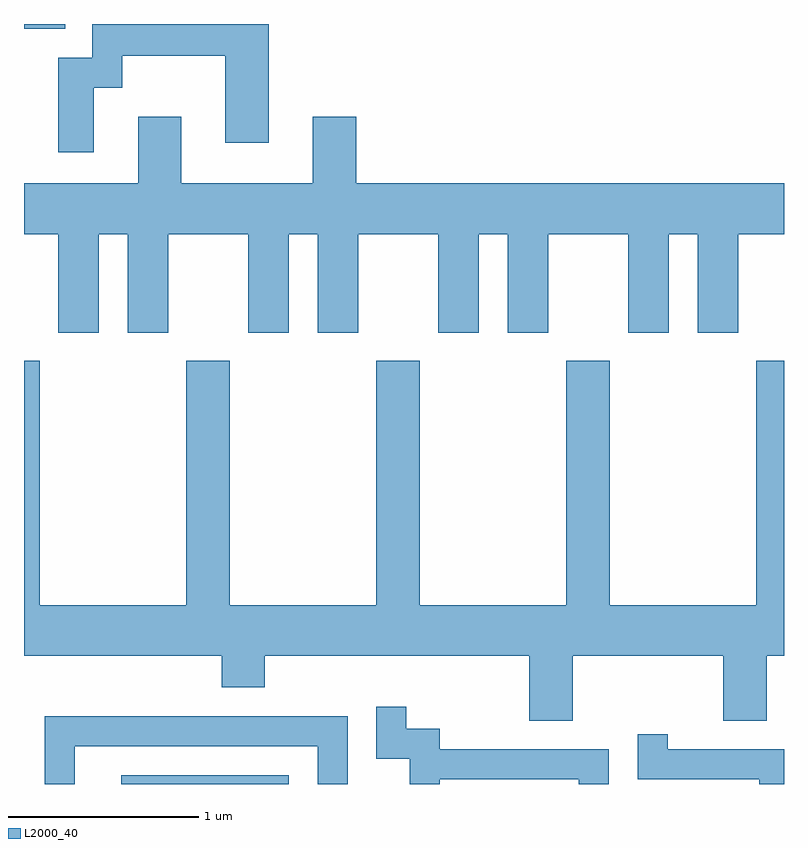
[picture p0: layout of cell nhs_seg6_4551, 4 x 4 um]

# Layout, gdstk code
import gdstk
lib = gdstk.Library(unit=1e-6, precision=1e-09)
def R(c, l, rs):  # rectangles x0, y0, x1, y1
    for r in rs: c.add(gdstk.rectangle(r[:2], r[2:], *l))
def P(c, l, *ps):  # polygons
    for p in ps: c.add(gdstk.Polygon(p, *l))
L2000_40 = (2000, 40)

nhs_seg6_4551 = lib.new_cell('nhs_seg6_4551')
R(nhs_seg6_4551, L2000_40, [(324.123,1638.162,325.004,1638.209), (323.611,1642.136,323.828,1642.162)])
P(nhs_seg6_4551, L2000_40, [(323.979,1641.826),(324.129,1641.826),(324.129,1641.996),(324.671,1641.996),(324.671,1641.536),(324.899,1641.536),(324.899,1642.162),(323.971,1642.162),(323.971,1641.984),(323.791,1641.984),(323.791,1641.486),(323.979,1641.486)],
  [(325.359,1641.674),(325.131,1641.674),(325.131,1641.324),(324.439,1641.324),(324.439,1641.674),(324.211,1641.674),(324.211,1641.324),(323.611,1641.324),(323.611,1641.056),(323.791,1641.056),(323.791,1640.536),(324.004,1640.536),(324.004,1641.056),(324.156,1641.056),(324.156,1640.536),(324.369,1640.536),(324.369,1641.056),(324.791,1641.056),(324.791,1640.536),(325.004,1640.536),(325.004,1641.056),(325.156,1641.056),(325.156,1640.536),(325.369,1640.536),(325.369,1641.056),(325.791,1641.056),(325.791,1640.536),(326.004,1640.536),(326.004,1641.056),(326.156,1641.056),(326.156,1640.536),(326.369,1640.536),(326.369,1641.056),(326.791,1641.056),(326.791,1640.536),(327.004,1640.536),(327.004,1641.056),(327.156,1641.056),(327.156,1640.536),(327.369,1640.536),(327.369,1641.056),(327.611,1641.056),(327.611,1641.324),(325.359,1641.324)],
  [(326.499,1638.836),(327.291,1638.836),(327.291,1638.496),(327.519,1638.496),(327.519,1638.836),(327.611,1638.836),(327.611,1640.389),(327.466,1640.389),(327.466,1639.104),(326.694,1639.104),(326.694,1640.389),(326.466,1640.389),(326.466,1639.104),(325.694,1639.104),(325.694,1640.389),(325.466,1640.389),(325.466,1639.104),(324.694,1639.104),(324.694,1640.389),(324.466,1640.389),(324.466,1639.104),(323.694,1639.104),(323.694,1640.389),(323.611,1640.389),(323.611,1638.836),(324.651,1638.836),(324.651,1638.671),(324.879,1638.671),(324.879,1638.836),(326.271,1638.836),(326.271,1638.496),(326.499,1638.496)],
  [(325.799,1638.186),(326.531,1638.186),(326.531,1638.162),(326.689,1638.162),(326.689,1638.344),(325.799,1638.344),(325.799,1638.454),(325.624,1638.454),(325.624,1638.568),(325.466,1638.568),(325.466,1638.296),(325.641,1638.296),(325.641,1638.162),(325.799,1638.162)],
  [(323.879,1638.361),(325.156,1638.361),(325.156,1638.162),(325.314,1638.162),(325.314,1638.519),(323.721,1638.519),(323.721,1638.162),(323.879,1638.162)],
  [(327.611,1638.344),(326.999,1638.344),(326.999,1638.423),(326.841,1638.423),(326.841,1638.186),(327.481,1638.186),(327.481,1638.162),(327.611,1638.162)])

lib.write_gds('nhs_seg6_4551.gds')
